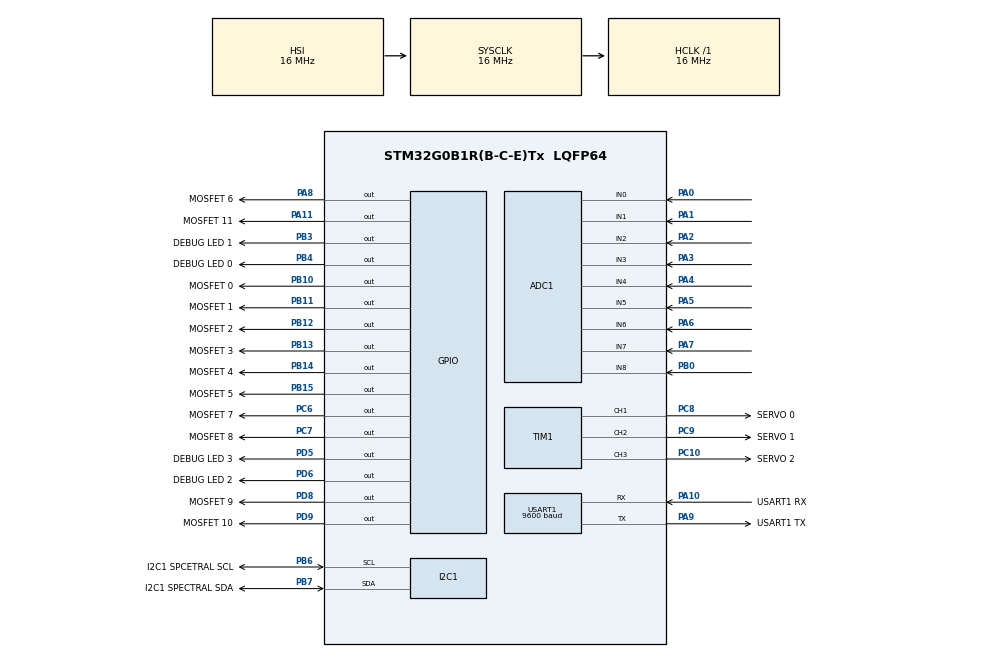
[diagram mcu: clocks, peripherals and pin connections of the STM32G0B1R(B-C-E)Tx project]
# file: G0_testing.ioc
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ADC1.NbrOfConversionFlag=1
ADC1.SelectedChannel=ADC_CHANNEL_0|ADC_CHANNEL_1|ADC_CHANNEL_2|ADC_CHANNEL_3|ADC_CHANNEL_4|ADC_CHANNEL_5|ADC_CHANNEL_6|ADC_CHANNEL_7|ADC_CHANNEL_8
ADC1.master=1
Dma.ADC1.1.Direction=DMA_PERIPH_TO_MEMORY
Dma.ADC1.1.EventEnable=DISABLE
Dma.ADC1.1.Instance=DMA1_Channel1
Dma.ADC1.1.MemDataAlignment=DMA_MDATAALIGN_HALFWORD
Dma.ADC1.1.MemInc=DMA_MINC_ENABLE
Dma.ADC1.1.Mode=DMA_CIRCULAR
Dma.ADC1.1.PeriphDataAlignment=DMA_PDATAALIGN_HALFWORD
Dma.ADC1.1.PeriphInc=DMA_PINC_DISABLE
Dma.ADC1.1.Polarity=HAL_DMAMUX_REQ_GEN_RISING
Dma.ADC1.1.Priority=DMA_PRIORITY_LOW
Dma.ADC1.1.RequestNumber=1
Dma.ADC1.1.SignalID=NONE
Dma.ADC1.1.SyncEnable=DISABLE
Dma.ADC1.1.SyncPolarity=HAL_DMAMUX_SYNC_NO_EVENT
Dma.ADC1.1.SyncRequestNumber=1
Dma.ADC1.1.SyncSignalID=NONE
Dma.Request0=USART1_RX
Dma.Request1=ADC1
Dma.USART1_RX.0.Direction=DMA_PERIPH_TO_MEMORY
Dma.USART1_RX.0.EventEnable=DISABLE
Dma.USART1_RX.0.Instance=DMA1_Channel5
Dma.USART1_RX.0.MemDataAlignment=DMA_MDATAALIGN_BYTE
Dma.USART1_RX.0.MemInc=DMA_MINC_ENABLE
Dma.USART1_RX.0.Mode=DMA_CIRCULAR
Dma.USART1_RX.0.PeriphDataAlignment=DMA_PDATAALIGN_BYTE
Dma.USART1_RX.0.PeriphInc=DMA_PINC_DISABLE
Dma.USART1_RX.0.Polarity=HAL_DMAMUX_REQ_GEN_RISING
Dma.USART1_RX.0.Priority=DMA_PRIORITY_LOW
Dma.USART1_RX.0.RequestNumber=1
Dma.USART1_RX.0.SignalID=NONE
Dma.USART1_RX.0.SyncEnable=DISABLE
Dma.USART1_RX.0.SyncPolarity=HAL_DMAMUX_SYNC_NO_EVENT
Dma.USART1_RX.0.SyncRequestNumber=1
Dma.USART1_RX.0.SyncSignalID=NONE
FREERTOS.Tasks01=MiscTask,24,128,StartMiscTask,Default,NULL,Dynamic,NULL,NULL;SpectralTask,16,128,StartSpectralTask,Default,NULL,Dynamic,NULL,NULL
Mcu.Family=STM32G0
Mcu.Name=STM32G0B1R(B-C-E)Tx
Mcu.Package=LQFP64
NVIC.DMA1_Ch4_7_DMA2_Ch1_5_DMAMUX1_OVR_IRQn=true\:3\:0\:false\:false\:true\:false\:false\:true\:true
NVIC.DMA1_Channel1_IRQn=true\:3\:0\:false\:false\:true\:true\:false\:true\:true
NVIC.TIM6_DAC_LPTIM1_IRQn=true\:3\:0\:false\:false\:true\:false\:false\:true\:true
NVIC.TimeBase=TIM6_DAC_LPTIM1_IRQn
NVIC.TimeBaseIP=TIM6
PA0.GPIO_Mode=GPIO_MODE_ANALOG
PA0.GPIO_PuPd=GPIO_NOPULL
PA0.Mode=IN0
PA0.Signal=ADC1_IN0
PA1.GPIO_Mode=GPIO_MODE_ANALOG
PA1.GPIO_PuPd=GPIO_NOPULL
PA1.Mode=IN1
PA1.Signal=ADC1_IN1
PA10.GPIO_Label=USART1 RX
PA10.Mode=Asynchronous
PA10.Signal=USART1_RX
PA11\ [PA9].GPIO_Label=MOSFET 11
PA11\ [PA9].Signal=GPIO_Output
PA13.Mode=Serial_Wire
PA13.Signal=SYS_SWDIO
PA14-BOOT0.Mode=Serial_Wire
PA14-BOOT0.Signal=SYS_SWCLK
PA2.GPIO_Mode=GPIO_MODE_ANALOG
PA2.GPIO_PuPd=GPIO_NOPULL
PA2.Mode=IN2
PA2.Signal=ADC1_IN2
PA3.GPIO_Mode=GPIO_MODE_ANALOG
PA3.GPIO_PuPd=GPIO_NOPULL
PA3.Mode=IN3
PA3.Signal=ADC1_IN3
PA4.GPIO_Mode=GPIO_MODE_ANALOG
PA4.GPIO_PuPd=GPIO_NOPULL
PA4.Mode=IN4
PA4.Signal=ADC1_IN4
PA5.GPIO_Mode=GPIO_MODE_ANALOG
PA5.GPIO_PuPd=GPIO_NOPULL
PA5.Mode=IN5
PA5.Signal=ADC1_IN5
PA6.GPIO_Mode=GPIO_MODE_ANALOG
PA6.GPIO_PuPd=GPIO_NOPULL
PA6.Mode=IN6
PA6.Signal=ADC1_IN6
PA7.GPIO_Mode=GPIO_MODE_ANALOG
PA7.GPIO_PuPd=GPIO_NOPULL
PA7.Mode=IN7
PA7.Signal=ADC1_IN7
PA8.GPIO_Label=MOSFET 6
PA8.Signal=GPIO_Output
PA9.GPIO_Label=USART1 TX
PA9.GPIO_Speed=GPIO_SPEED_FREQ_HIGH
PA9.Mode=Asynchronous
PA9.Signal=USART1_TX
PB0.GPIO_Mode=GPIO_MODE_ANALOG
PB0.GPIO_PuPd=GPIO_NOPULL
PB0.Mode=IN8
PB0.Signal=ADC1_IN8
PB10.GPIO_Label=MOSFET 0
PB10.Signal=GPIO_Output
PB11.GPIO_Label=MOSFET 1
PB11.Signal=GPIO_Output
PB12.GPIO_Label=MOSFET 2
PB12.Signal=GPIO_Output
PB13.GPIO_Label=MOSFET 3
PB13.Signal=GPIO_Output
PB14.GPIO_Label=MOSFET 4
PB14.Signal=GPIO_Output
PB15.GPIO_Label=MOSFET 5
PB15.Signal=GPIO_Output
PB3.GPIO_Label=DEBUG LED 1
PB3.Signal=GPIO_Output
PB4.GPIO_Label=DEBUG LED 0
PB4.Signal=GPIO_Output
PB6.GPIO_Label=I2C1 SPCETRAL SCL
PB6.GPIO_Speed=GPIO_SPEED_FREQ_HIGH
PB6.Mode=I2C
PB6.Signal=I2C1_SCL
PB7.GPIO_Label=I2C1 SPECTRAL SDA
PB7.GPIO_Speed=GPIO_SPEED_FREQ_HIGH
PB7.Mode=I2C
PB7.Signal=I2C1_SDA
PC10.GPIO_Label=SERVO 2
PC10.Signal=S_TIM1_CH3
PC6.GPIO_Label=MOSFET 7
PC6.Signal=GPIO_Output
PC7.GPIO_Label=MOSFET 8
PC7.Signal=GPIO_Output
PC8.GPIO_Label=SERVO 0
PC8.Signal=S_TIM1_CH1
PC9.GPIO_Label=SERVO 1
PC9.Signal=S_TIM1_CH2
PD5.GPIO_Label=DEBUG LED 3
PD5.Signal=GPIO_Output
PD6.GPIO_Label=DEBUG LED 2
PD6.Signal=GPIO_Output
PD8.GPIO_Label=MOSFET 9
PD8.Signal=GPIO_Output
PD9.GPIO_Label=MOSFET 10
PD9.Signal=GPIO_Output
ProjectManager.HeapSize=0x200
ProjectManager.StackSize=0x400
ProjectManager.TargetToolchain=STM32CubeIDE
RCC.AHBFreq_Value=16000000
RCC.CortexFreq_Value=16000000
RCC.EXTERNAL_CLOCK_VALUE=48000
RCC.HCLKFreq_Value=16000000
RCC.HSE_VALUE=8000000
RCC.HSI48_VALUE=48000000
RCC.HSI_VALUE=16000000
RCC.LSE_VALUE=32768
RCC.SYSCLKFreq_VALUE=16000000
RCC.USBFreq_Value=48000000
RCC.VCOOutputFreq_Value=128000000
SH.S_TIM1_CH1.0=TIM1_CH1,PWM Generation1 CH1
SH.S_TIM1_CH2.0=TIM1_CH2,PWM Generation2 CH2
SH.S_TIM1_CH3.0=TIM1_CH3,PWM Generation3 CH3
TIM1.Channel-PWM\ Generation1\ CH1=TIM_CHANNEL_1
TIM1.Channel-PWM\ Generation2\ CH2=TIM_CHANNEL_2
TIM1.Channel-PWM\ Generation3\ CH3=TIM_CHANNEL_3
USART1.BaudRate=9600
USART1.VirtualMode-Asynchronous=VM_ASYNC
VP_FREERTOS_VS_CMSIS_V2.Mode=CMSIS_V2
VP_SYS_VS_tim6.Mode=TIM6
board=custom

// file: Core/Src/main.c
/* USER CODE BEGIN Header */

//stack_size for MiscTaskHandle and SpectralTaskHandle should be set to 128 * 10. The ioc might overwrite it.
//Make sure to change the #include's for the .h files under Core/Inc to the correct STM when changing STM types.
//(i.e #include "stm32g0xx_hal.h" ----> #include "stm32f1xx_hal.h")
//Spectral code in StartSpectralTask() is buggy, so it is commented out for now.

/**
  ******************************************************************************
  * @file           : main.c
  * @brief          : Main program body
  ******************************************************************************
  * @attention
  *
  * Copyright (c) 2023 STMicroelectronics.
  * All rights reserved.
  *
  * This software is licensed under terms that can be found in the LICENSE file
  * in the root directory of this software component.
  * If no LICENSE file comes with this software, it is provided AS-IS.
  *
  ******************************************************************************
  */
/* USER CODE END Header */
#include "main.h"
#include "cmsis_os.h"

/* USER CODE BEGIN Includes */
#include "adc_sensor.h"
#include "bridge.h"
#include "diag_curr_sensor.h"
#include "diag_temp_sensor.h"
#include "heater.h"
#include "pin_data.h"
#include "servo.h"
#include "smbus.h"
#include "spectral.h"
#include "thermistor.h"
/* USER CODE END Includes */

/* USER CODE BEGIN PD */
#define NUM_MOSFET_DEVICES 12
#define NUM_DIAG_CURRENT_SENSORS 3
#define NUM_DIAG_TEMP_SENSORS 3
#define NUM_SCIENCE_TEMP_SENSORS 3
#define NUM_SERVOS 3
#define NUM_HEATERS 3
#define NUM_DEBUG_LEDS 4

#define HEATER_0_MOSFET_PIN 3
#define HEATER_1_MOSFET_PIN 4
#define HEATER_2_MOSFET_PIN 5
/* USER CODE END PD */

ADC_HandleTypeDef hadc1;
DMA_HandleTypeDef hdma_adc1;

I2C_HandleTypeDef hi2c1;

TIM_HandleTypeDef htim1;

UART_HandleTypeDef huart1;
DMA_HandleTypeDef hdma_usart1_rx;

/* Definitions for MiscTask */
osThreadId_t MiscTaskHandle;
const osThreadAttr_t MiscTask_attributes = {
  .name = "MiscTask",
  .priority = (osPriority_t) osPriorityNormal,
  .stack_size = 128 * 10
};
/* Definitions for SpectralTask */
osThreadId_t SpectralTaskHandle;
const osThreadAttr_t SpectralTask_attributes = {
  .name = "SpectralTask",
  .priority = (osPriority_t) osPriorityBelowNormal,
  .stack_size = 128 * 10
};
/* USER CODE BEGIN PV */
ADCSensor* adc_sensor = NULL;
Bridge* bridge = NULL;
DiagCurrentSensor* diag_current_sensors[NUM_DIAG_CURRENT_SENSORS] = {NULL};
DiagTempSensor* diag_temp_sensors[NUM_DIAG_TEMP_SENSORS] = {NULL};
Heater* science_heaters[NUM_HEATERS] = {NULL};
PinData* debug_leds[NUM_DEBUG_LEDS] = {NULL};
PinData* heater_pins[NUM_HEATERS] = {NULL};
PinData* mosfet_pins[NUM_MOSFET_DEVICES] = {NULL};
Servo* servos[NUM_SERVOS] = {NULL};
SMBus* smbus = NULL;
Spectral* spectral = NULL;
Thermistor* science_temp_sensors[NUM_SCIENCE_TEMP_SENSORS] = {NULL};

float diag_temperatures[NUM_DIAG_TEMP_SENSORS] = {0};
float diag_currents[NUM_DIAG_CURRENT_SENSORS] = {0};
float science_temperatures[NUM_SCIENCE_TEMP_SENSORS] = {0};
uint16_t spectral_data[SPECTRAL_CHANNELS] = {0};
bool heater_auto_shutoff_state = false;
bool heater_on_state[NUM_HEATERS] = {false};
/* USER CODE END PV */

void SystemClock_Config(void);
static void MX_GPIO_Init(void);
static void MX_DMA_Init(void);
static void MX_USART1_UART_Init(void);
static void MX_ADC1_Init(void);
static void MX_I2C1_Init(void);
static void MX_TIM1_Init(void);
void StartMiscTask(void *argument);
void StartSpectralTask(void *argument);

/* USER CODE BEGIN 0 */
void HAL_UART_RxCpltCallback(UART_HandleTypeDef *huart) {
	receive_bridge(bridge, science_heaters, mosfet_pins, servos);
}
/* USER CODE END 0 */

int main(void)
{
  /* USER CODE BEGIN 1 */
	adc_sensor = new_adc_sensor(&hadc1, 9);

		bridge = new_bridge(&huart1);

		diag_current_sensors[0] = new_diag_current_sensor(adc_sensor, 3);
		diag_current_sensors[1] = new_diag_current_sensor(adc_sensor, 4);
		diag_current_sensors[2] = new_diag_current_sensor(adc_sensor, 5);

		diag_temp_sensors[0] = new_diag_temp_sensor(adc_sensor, 6);
		diag_temp_sensors[1] = new_diag_temp_sensor(adc_sensor, 7);
		diag_temp_sensors[2] = new_diag_temp_sensor(adc_sensor, 8);

		debug_leds[0] = new_pin_data(DEBUG_LED_0_GPIO_Port, DEBUG_LED_0_Pin, PIN_IS_OUTPUT);
		debug_leds[1] = new_pin_data(DEBUG_LED_1_GPIO_Port, DEBUG_LED_1_Pin, PIN_IS_OUTPUT);
		debug_leds[2] = new_pin_data(DEBUG_LED_2_GPIO_Port, DEBUG_LED_2_Pin, PIN_IS_OUTPUT);
		debug_leds[3] = new_pin_data(DEBUG_LED_3_GPIO_Port, DEBUG_LED_3_Pin, PIN_IS_OUTPUT);

		mosfet_pins[0] = new_pin_data(MOSFET_0_GPIO_Port, MOSFET_0_Pin, PIN_IS_OUTPUT);
		mosfet_pins[1] = new_pin_data(MOSFET_1_GPIO_Port, MOSFET_1_Pin, PIN_IS_OUTPUT);
		mosfet_pins[2] = new_pin_data(MOSFET_2_GPIO_Port, MOSFET_2_Pin, PIN_IS_OUTPUT);
		mosfet_pins[3] = new_pin_data(MOSFET_3_GPIO_Port, MOSFET_3_Pin, PIN_IS_OUTPUT);
		mosfet_pins[4] = new_pin_data(MOSFET_4_GPIO_Port, MOSFET_4_Pin, PIN_IS_OUTPUT);
		mosfet_pins[5] = new_pin_data(MOSFET_5_GPIO_Port, MOSFET_5_Pin, PIN_IS_OUTPUT);
		mosfet_pins[6] = new_pin_data(MOSFET_6_GPIO_Port, MOSFET_6_Pin, PIN_IS_OUTPUT);
		mosfet_pins[7] = new_pin_data(MOSFET_7_GPIO_Port, MOSFET_7_Pin, PIN_IS_OUTPUT);
		mosfet_pins[8] = new_pin_data(MOSFET_8_GPIO_Port, MOSFET_8_Pin, PIN_IS_OUTPUT);
		mosfet_pins[9] = new_pin_data(MOSFET_9_GPIO_Port, MOSFET_9_Pin, PIN_IS_OUTPUT);
		mosfet_pins[10] = new_pin_data(MOSFET_10_GPIO_Port, MOSFET_10_Pin, PIN_IS_OUTPUT);
		mosfet_pins[11] = new_pin_data(MOSFET_11_GPIO_Port, MOSFET_11_Pin, PIN_IS_OUTPUT);

		heater_pins[0] = mosfet_pins[HEATER_0_MOSFET_PIN];
		heater_pins[1] = mosfet_pins[HEATER_1_MOSFET_PIN];
		heater_pins[2] = mosfet_pins[HEATER_2_MOSFET_PIN];

		servos[0] = new_servo(&htim1, TIM_CHANNEL_1, &(TIM1->CCR1));
		servos[1] = new_servo(&htim1, TIM_CHANNEL_2, &(TIM1->CCR2));
		servos[2] = new_servo(&htim1, TIM_CHANNEL_3, &(TIM1->CCR3));

		smbus = new_smbus(&hi2c1, NULL, false);
		spectral = new_spectral(smbus);

		science_temp_sensors[0] = new_thermistor(adc_sensor, 0);
		science_temp_sensors[1] = new_thermistor(adc_sensor, 1);
		science_temp_sensors[2] = new_thermistor(adc_sensor, 2);

		science_heaters[0] = new_heater(heater_pins[0], science_temp_sensors[0]);
		science_heaters[1] = new_heater(heater_pins[1], science_temp_sensors[1]);
		science_heaters[2] = new_heater(heater_pins[2], science_temp_sensors[2]);
  /* USER CODE END 1 */

  /* MCU Configuration--------------------------------------------------------*/

  /* Reset of all peripherals, Initializes the Flash interface and the Systick. */
  HAL_Init();

  /* Configure the system clock */
  SystemClock_Config();

  /* Initialize all configured peripherals */
  MX_GPIO_Init();
  MX_DMA_Init();
  MX_USART1_UART_Init();
  MX_ADC1_Init();
  MX_I2C1_Init();
  MX_TIM1_Init();
  /* USER CODE BEGIN 2 */
  receive_bridge(bridge, science_heaters, mosfet_pins, servos);
  /* USER CODE END 2 */

  /* Init scheduler */
  osKernelInitialize();

  /* Create the thread(s) */
  /* creation of MiscTask */
  MiscTaskHandle = osThreadNew(StartMiscTask, NULL, &MiscTask_attributes);

  /* creation of SpectralTask */
  SpectralTaskHandle = osThreadNew(StartSpectralTask, NULL, &SpectralTask_attributes);

  /* Start scheduler */
  osKernelStart();

  /* We should never get here as control is now taken by the scheduler */
  /* Infinite loop */
  while (1)
  {

  }
}

void SystemClock_Config(void)
{
  RCC_OscInitTypeDef RCC_OscInitStruct = {0};
  RCC_ClkInitTypeDef RCC_ClkInitStruct = {0};

  /** Configure the main internal regulator output voltage
  */
  HAL_PWREx_ControlVoltageScaling(PWR_REGULATOR_VOLTAGE_SCALE1);

  /** Initializes the RCC Oscillators according to the specified parameters
  * in the RCC_OscInitTypeDef structure.
  */
  RCC_OscInitStruct.OscillatorType = RCC_OSCILLATORTYPE_HSI;
  RCC_OscInitStruct.HSIState = RCC_HSI_ON;
  RCC_OscInitStruct.HSIDiv = RCC_HSI_DIV1;
  RCC_OscInitStruct.HSICalibrationValue = RCC_HSICALIBRATION_DEFAULT;
  RCC_OscInitStruct.PLL.PLLState = RCC_PLL_NONE;
  if (HAL_RCC_OscConfig(&RCC_OscInitStruct) != HAL_OK)
  {
    Error_Handler();
  }

  /** Initializes the CPU, AHB and APB buses clocks
  */
  RCC_ClkInitStruct.ClockType = RCC_CLOCKTYPE_HCLK|RCC_CLOCKTYPE_SYSCLK
                              |RCC_CLOCKTYPE_PCLK1;
  RCC_ClkInitStruct.SYSCLKSource = RCC_SYSCLKSOURCE_HSI;
  RCC_ClkInitStruct.AHBCLKDivider = RCC_SYSCLK_DIV1;
  RCC_ClkInitStruct.APB1CLKDivider = RCC_HCLK_DIV1;

  if (HAL_RCC_ClockConfig(&RCC_ClkInitStruct, FLASH_LATENCY_0) != HAL_OK)
  {
    Error_Handler();
  }
}

static void MX_ADC1_Init(void)
{

  /** Configure the global features of the ADC (Clock, Resolution, Data Alignment and number of conversion)
  */
  hadc1.Instance = ADC1;
  hadc1.Init.ClockPrescaler = ADC_CLOCK_SYNC_PCLK_DIV2;
  hadc1.Init.Resolution = ADC_RESOLUTION_12B;
  hadc1.Init.DataAlign = ADC_DATAALIGN_RIGHT;
  hadc1.Init.ScanConvMode = ADC_SCAN_DISABLE;
  hadc1.Init.EOCSelection = ADC_EOC_SINGLE_CONV;
  hadc1.Init.LowPowerAutoWait = DISABLE;
  hadc1.Init.LowPowerAutoPowerOff = DISABLE;
  hadc1.Init.ContinuousConvMode = DISABLE;
  hadc1.Init.NbrOfConversion = 1;
  hadc1.Init.DiscontinuousConvMode = DISABLE;
  hadc1.Init.ExternalTrigConv = ADC_SOFTWARE_START;
  hadc1.Init.ExternalTrigConvEdge = ADC_EXTERNALTRIGCONVEDGE_NONE;
  hadc1.Init.DMAContinuousRequests = DISABLE;
  hadc1.Init.Overrun = ADC_OVR_DATA_PRESERVED;
  hadc1.Init.SamplingTimeCommon1 = ADC_SAMPLETIME_1CYCLE_5;
  hadc1.Init.SamplingTimeCommon2 = ADC_SAMPLETIME_1CYCLE_5;
  hadc1.Init.OversamplingMode = DISABLE;
  hadc1.Init.TriggerFrequencyMode = ADC_TRIGGER_FREQ_HIGH;
  if (HAL_ADC_Init(&hadc1) != HAL_OK)
  {
    Error_Handler();
  }

}

static void MX_I2C1_Init(void)
{

  hi2c1.Instance = I2C1;
  hi2c1.Init.Timing = 0x00303D5B;
  hi2c1.Init.OwnAddress1 = 0;
  hi2c1.Init.AddressingMode = I2C_ADDRESSINGMODE_7BIT;
  hi2c1.Init.DualAddressMode = I2C_DUALADDRESS_DISABLE;
  hi2c1.Init.OwnAddress2 = 0;
  hi2c1.Init.OwnAddress2Masks = I2C_OA2_NOMASK;
  hi2c1.Init.GeneralCallMode = I2C_GENERALCALL_DISABLE;
  hi2c1.Init.NoStretchMode = I2C_NOSTRETCH_DISABLE;
  if (HAL_I2C_Init(&hi2c1) != HAL_OK)
  {
    Error_Handler();
  }

  /** Configure Analogue filter
  */
  if (HAL_I2CEx_ConfigAnalogFilter(&hi2c1, I2C_ANALOGFILTER_ENABLE) != HAL_OK)
  {
    Error_Handler();
  }

  /** Configure Digital filter
  */
  if (HAL_I2CEx_ConfigDigitalFilter(&hi2c1, 0) != HAL_OK)
  {
    Error_Handler();
  }

}

static void MX_TIM1_Init(void)
{

  TIM_MasterConfigTypeDef sMasterConfig = {0};
  TIM_OC_InitTypeDef sConfigOC = {0};
  TIM_BreakDeadTimeConfigTypeDef sBreakDeadTimeConfig = {0};

  htim1.Instance = TIM1;
  htim1.Init.Prescaler = 0;
  htim1.Init.CounterMode = TIM_COUNTERMODE_UP;
  htim1.Init.Period = 65535;
  htim1.Init.ClockDivision = TIM_CLOCKDIVISION_DIV1;
  htim1.Init.RepetitionCounter = 0;
  htim1.Init.AutoReloadPreload = TIM_AUTORELOAD_PRELOAD_DISABLE;
  if (HAL_TIM_PWM_Init(&htim1) != HAL_OK)
  {
    Error_Handler();
  }
  sMasterConfig.MasterOutputTrigger = TIM_TRGO_RESET;
  sMasterConfig.MasterOutputTrigger2 = TIM_TRGO2_RESET;
  sMasterConfig.MasterSlaveMode = TIM_MASTERSLAVEMODE_DISABLE;
  if (HAL_TIMEx_MasterConfigSynchronization(&htim1, &sMasterConfig) != HAL_OK)
  {
    Error_Handler();
  }
  sConfigOC.OCMode = TIM_OCMODE_PWM1;
  sConfigOC.Pulse = 0;
  sConfigOC.OCPolarity = TIM_OCPOLARITY_HIGH;
  sConfigOC.OCNPolarity = TIM_OCNPOLARITY_HIGH;
  sConfigOC.OCFastMode = TIM_OCFAST_DISABLE;
  sConfigOC.OCIdleState = TIM_OCIDLESTATE_RESET;
  sConfigOC.OCNIdleState = TIM_OCNIDLESTATE_RESET;
  if (HAL_TIM_PWM_ConfigChannel(&htim1, &sConfigOC, TIM_CHANNEL_1) != HAL_OK)
  {
    Error_Handler();
  }
  if (HAL_TIM_PWM_ConfigChannel(&htim1, &sConfigOC, TIM_CHANNEL_2) != HAL_OK)
  {
    Error_Handler();
  }
  if (HAL_TIM_PWM_ConfigChannel(&htim1, &sConfigOC, TIM_CHANNEL_3) != HAL_OK)
  {
    Error_Handler();
  }
  sBreakDeadTimeConfig.OffStateRunMode = TIM_OSSR_DISABLE;
  sBreakDeadTimeConfig.OffStateIDLEMode = TIM_OSSI_DISABLE;
  sBreakDeadTimeConfig.LockLevel = TIM_LOCKLEVEL_OFF;
  sBreakDeadTimeConfig.DeadTime = 0;
  sBreakDeadTimeConfig.BreakState = TIM_BREAK_DISABLE;
  sBreakDeadTimeConfig.BreakPolarity = TIM_BREAKPOLARITY_HIGH;
  sBreakDeadTimeConfig.BreakFilter = 0;
  sBreakDeadTimeConfig.BreakAFMode = TIM_BREAK_AFMODE_INPUT;
  sBreakDeadTimeConfig.Break2State = TIM_BREAK2_DISABLE;
  sBreakDeadTimeConfig.Break2Polarity = TIM_BREAK2POLARITY_HIGH;
  sBreakDeadTimeConfig.Break2Filter = 0;
  sBreakDeadTimeConfig.Break2AFMode = TIM_BREAK_AFMODE_INPUT;
  sBreakDeadTimeConfig.AutomaticOutput = TIM_AUTOMATICOUTPUT_DISABLE;
  if (HAL_TIMEx_ConfigBreakDeadTime(&htim1, &sBreakDeadTimeConfig) != HAL_OK)
  {
    Error_Handler();
  }
  HAL_TIM_MspPostInit(&htim1);

}

static void MX_USART1_UART_Init(void)
{

  huart1.Instance = USART1;
  huart1.Init.BaudRate = 9600;
  huart1.Init.WordLength = UART_WORDLENGTH_8B;
  huart1.Init.StopBits = UART_STOPBITS_1;
  huart1.Init.Parity = UART_PARITY_NONE;
  huart1.Init.Mode = UART_MODE_TX_RX;
  huart1.Init.HwFlowCtl = UART_HWCONTROL_NONE;
  huart1.Init.OverSampling = UART_OVERSAMPLING_16;
  huart1.Init.OneBitSampling = UART_ONE_BIT_SAMPLE_DISABLE;
  huart1.Init.ClockPrescaler = UART_PRESCALER_DIV1;
  huart1.AdvancedInit.AdvFeatureInit = UART_ADVFEATURE_NO_INIT;
  if (HAL_UART_Init(&huart1) != HAL_OK)
  {
    Error_Handler();
  }
  if (HAL_UARTEx_SetTxFifoThreshold(&huart1, UART_TXFIFO_THRESHOLD_1_8) != HAL_OK)
  {
    Error_Handler();
  }
  if (HAL_UARTEx_SetRxFifoThreshold(&huart1, UART_RXFIFO_THRESHOLD_1_8) != HAL_OK)
  {
    Error_Handler();
  }
  if (HAL_UARTEx_DisableFifoMode(&huart1) != HAL_OK)
  {
    Error_Handler();
  }

}

static void MX_DMA_Init(void)
{

  /* DMA controller clock enable */
  __HAL_RCC_DMA1_CLK_ENABLE();

  /* DMA interrupt init */
  /* DMA1_Channel1_IRQn interrupt configuration */
  HAL_NVIC_SetPriority(DMA1_Channel1_IRQn, 3, 0);
  HAL_NVIC_EnableIRQ(DMA1_Channel1_IRQn);
  /* DMA1_Ch4_7_DMA2_Ch1_5_DMAMUX1_OVR_IRQn interrupt configuration */
  HAL_NVIC_SetPriority(DMA1_Ch4_7_DMA2_Ch1_5_DMAMUX1_OVR_IRQn, 3, 0);
  HAL_NVIC_EnableIRQ(DMA1_Ch4_7_DMA2_Ch1_5_DMAMUX1_OVR_IRQn);

}

static void MX_GPIO_Init(void)
{
  GPIO_InitTypeDef GPIO_InitStruct = {0};

  /* GPIO Ports Clock Enable */
  __HAL_RCC_GPIOA_CLK_ENABLE();
  __HAL_RCC_GPIOB_CLK_ENABLE();
  __HAL_RCC_GPIOC_CLK_ENABLE();
  __HAL_RCC_GPIOD_CLK_ENABLE();

  /*Configure GPIO pin Output Level */
  HAL_GPIO_WritePin(GPIOB, MOSFET_0_Pin|MOSFET_1_Pin|MOSFET_2_Pin|MOSFET_3_Pin
                          |MOSFET_4_Pin|MOSFET_5_Pin|DEBUG_LED_1_Pin|DEBUG_LED_0_Pin, GPIO_PIN_RESET);

  /*Configure GPIO pin Output Level */
  HAL_GPIO_WritePin(GPIOA, MOSFET_6_Pin|MOSFET_11_Pin, GPIO_PIN_RESET);

  /*Configure GPIO pin Output Level */
  HAL_GPIO_WritePin(GPIOC, MOSFET_7_Pin|MOSFET_8_Pin, GPIO_PIN_RESET);

  /*Configure GPIO pin Output Level */
  HAL_GPIO_WritePin(GPIOD, MOSFET_9_Pin|MOSFET_10_Pin|DEBUG_LED_3_Pin|DEBUG_LED_2_Pin, GPIO_PIN_RESET);

  /*Configure GPIO pins : MOSFET_0_Pin MOSFET_1_Pin MOSFET_2_Pin MOSFET_3_Pin
                           MOSFET_4_Pin MOSFET_5_Pin DEBUG_LED_1_Pin DEBUG_LED_0_Pin */
  GPIO_InitStruct.Pin = MOSFET_0_Pin|MOSFET_1_Pin|MOSFET_2_Pin|MOSFET_3_Pin
                          |MOSFET_4_Pin|MOSFET_5_Pin|DEBUG_LED_1_Pin|DEBUG_LED_0_Pin;
  GPIO_InitStruct.Mode = GPIO_MODE_OUTPUT_PP;
  GPIO_InitStruct.Pull = GPIO_NOPULL;
  GPIO_InitStruct.Speed = GPIO_SPEED_FREQ_LOW;
  HAL_GPIO_Init(GPIOB, &GPIO_InitStruct);

  /*Configure GPIO pins : MOSFET_6_Pin MOSFET_11_Pin */
  GPIO_InitStruct.Pin = MOSFET_6_Pin|MOSFET_11_Pin;
  GPIO_InitStruct.Mode = GPIO_MODE_OUTPUT_PP;
  GPIO_InitStruct.Pull = GPIO_NOPULL;
  GPIO_InitStruct.Speed = GPIO_SPEED_FREQ_LOW;
  HAL_GPIO_Init(GPIOA, &GPIO_InitStruct);

  /*Configure GPIO pins : MOSFET_7_Pin MOSFET_8_Pin */
  GPIO_InitStruct.Pin = MOSFET_7_Pin|MOSFET_8_Pin;
  GPIO_InitStruct.Mode = GPIO_MODE_OUTPUT_PP;
  GPIO_InitStruct.Pull = GPIO_NOPULL;
  GPIO_InitStruct.Speed = GPIO_SPEED_FREQ_LOW;
  HAL_GPIO_Init(GPIOC, &GPIO_InitStruct);

  /*Configure GPIO pins : MOSFET_9_Pin MOSFET_10_Pin DEBUG_LED_3_Pin DEBUG_LED_2_Pin */
  GPIO_InitStruct.Pin = MOSFET_9_Pin|MOSFET_10_Pin|DEBUG_LED_3_Pin|DEBUG_LED_2_Pin;
  GPIO_InitStruct.Mode = GPIO_MODE_OUTPUT_PP;
  GPIO_InitStruct.Pull = GPIO_NOPULL;
  GPIO_InitStruct.Speed = GPIO_SPEED_FREQ_LOW;
  HAL_GPIO_Init(GPIOD, &GPIO_InitStruct);

}

void StartMiscTask(void *argument)
{
  /* USER CODE BEGIN 5 */
	TickType_t xLastWakeTime;
	 const TickType_t xFrequency = 5000/portTICK_PERIOD_MS; //values in milliseconds
	 xLastWakeTime = xTaskGetTickCount();
  /* Infinite loop */
  for(;;)
  {
	  	  /*
	  	   * In a while loop, we will need to get the following data and send it over:
	  	   * Diagnostic Temperatures and Currents
	  	   * Science Temperatures
	  	   * State of auto-shut off state of the heater (upon change).
	  	   * State of the heater (upon change).
	  	   */

	    	  update_adc_sensor_values(adc_sensor);
	  	  for (size_t i = 0; i < NUM_DIAG_TEMP_SENSORS; ++i) {
	  		  update_diag_temp_sensor_val(diag_temp_sensors[i]);
	  		  diag_temperatures[i] = get_diag_temp_sensor_val(diag_temp_sensors[i]);
	  	  }
	  	  for (size_t i = 0; i < NUM_DIAG_CURRENT_SENSORS; ++i) {
	  		  update_diag_current_sensor_val(diag_current_sensors[i]);
	  		  diag_currents[i] = get_diag_current_sensor_val(diag_current_sensors[i]);
	  	  }
	  	  bridge_send_diagnostic(bridge, diag_temperatures, diag_currents);

	  	  for (size_t i = 0; i < NUM_HEATERS; ++i) {
	  		  update_heater_temperature(science_heaters[i]);
	  		  update_heater_state(science_heaters[i]);
	  		  science_temperatures[i] = get_thermistor_temperature(science_temp_sensors[i]);
	  	  }
	  	  bridge_send_science_thermistors(bridge, science_temperatures);

	    	  bool send_auto_shutoff = false;
	  	  for (size_t i = 0; i < NUM_HEATERS; ++i) {
	  		  heater_auto_shutoff_state = science_heaters[i]->auto_shutoff;
	  		  if (science_heaters[i]->send_auto_shutoff) {
	  			  science_heaters[i]->send_auto_shutoff = false;
	  			  send_auto_shutoff = true;
	  		  }
	  	  }
	  	  if (send_auto_shutoff) {
	  		  bridge_send_heater_auto_shutoff(bridge, heater_auto_shutoff_state);
	  	  }

	  	  bool send_heater_on = false;
	  	  for (size_t i = 0; i < NUM_HEATERS; ++i) {
	  		  heater_on_state[i] = science_heaters[i]->is_on;
	  		  if (science_heaters[i]->send_on) {
	  			  science_heaters[i]->send_on = false;
	  			  send_heater_on = true;
	  		  }
	  	  }
	  	  if (send_heater_on) {
	  		  bridge_send_heater_state(bridge, heater_on_state);
	  	  }
	  	vTaskDelayUntil( &xLastWakeTime, xFrequency );
  }
  osThreadTerminate(NULL); //May want this just in case
  /* USER CODE END 5 */
}

void StartSpectralTask(void *argument)
{
  /* USER CODE BEGIN StartSpectralTask */
	TickType_t xLastWakeTime;
		 const TickType_t xFrequency = 5000/portTICK_PERIOD_MS; //value in milliseconds
		 xLastWakeTime = xTaskGetTickCount();
  /* Infinite loop */
  for(;;)
  {
  	  /*
	   * In a while loop, we will need to get the following data and send it over:
	   * Spectral sensor data
	   */

	  /*
  	  for (size_t i = 0; i < SPECTRAL_CHANNELS; ++i) {
		  update_spectral_channel_data(spectral, i);
		  spectral_data[i] = get_spectral_channel_data(spectral, i);
	  }
	  bridge_send_spectral(bridge, spectral_data);
	  */
	  vTaskDelayUntil( &xLastWakeTime, xFrequency );
  }
  osThreadTerminate(NULL); // May want this just in case
  /* USER CODE END StartSpectralTask */
}

void HAL_TIM_PeriodElapsedCallback(TIM_HandleTypeDef *htim)
{
  if (htim->Instance == TIM6) {
    HAL_IncTick();
  }
}

void Error_Handler(void)
{
  __disable_irq();
  while (1)
  {
  }
}
